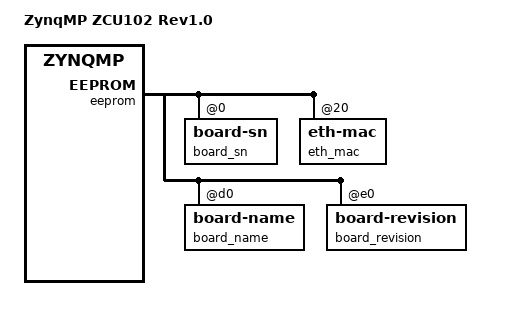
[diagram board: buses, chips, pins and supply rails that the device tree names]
// SPDX-License-Identifier: GPL-2.0+
/*
 * dts file for Xilinx ZynqMP ZCU102 Rev1.0
 *
 * (C) Copyright 2016 - 2018, Xilinx, Inc.
 *
 * Michal Simek <michal.simek@xilinx.com>
 */

#include "zynqmp-zcu102-revB.dts"

/ {
	model = "ZynqMP ZCU102 Rev1.0";
	compatible = "xlnx,zynqmp-zcu102-rev1.0", "xlnx,zynqmp-zcu102", "xlnx,zynqmp";
	reserved-memory {
		#address-cells = <2>;
		#size-cells = <2>;
		ranges;


		rproc_0_fw_reserved: rproc@3ed000000 {
			compatible = "rproc-prog-memory";
			no-map;
			reg = <0x0 0x3ed00000 0x0 0x40000>;
		};
		rproc_0_dma_reserved: rproc@3ed400000 {
			compatible = "shared-dma-pool";
			no-map;
			reg = <0x0 0x3ed40000 0x0 0x80000>;
		};

/*
		rproc_0_dma_reserved: rproc@3ed000000 {
			compatible = "shared-dma-pool";
			no-map;
			reg = <0x0 0x3ed00000 0x0 0x100000>;
		};
*/
	};

	firmware {
		zynqmp_firmware: zynqmp-firmware {
			compatible = "xlnx,zynqmp-firmware";
			method = "smc";
		};
	};

	amba {
		zynqmp-r5-remoteproc@0 {
			compatible = "xlnx,zynqmp-r5-remoteproc-1.0";
			reg = <0x0 0xFFE00000 0x0 0x10000>,
				<0x0 0xFFE20000 0x0 0x10000>,
				<0x0 0xff340000 0x0 0x100>;
			reg-names = "tcm_a", "tcm_b", "ipi";
			dma-ranges;
			core_conf = "split0";

			memory-region = <&rproc_0_fw_reserved>,
					<&rproc_0_dma_reserved>;

/*
			memory-region = <&rproc_0_dma_reserved>;
*/
			tcm-pnode-id = <0xf>, <0x10>;
			rpu-pnode-id = <0x7>;
			interrupt-parent = <&gic>;
			interrupts = <0 29 4>;
/*
			#stream-id-cells = <1>;
			iommus = <&smmu 0x800>;
*/
		} ;
	};
};

&smmu {
	status = "okay";
};

&eeprom {
	#address-cells = <1>;
	#size-cells = <1>;

	board_sn: board-sn@0 {
		reg = <0x0 0x14>;
	};

	eth_mac: eth-mac@20 {
		reg = <0x20 0x6>;
	};

	board_name: board-name@d0 {
		reg = <0xd0 0x6>;
	};

	board_revision: board-revision@e0 {
		reg = <0xe0 0x3>;
	};
};
